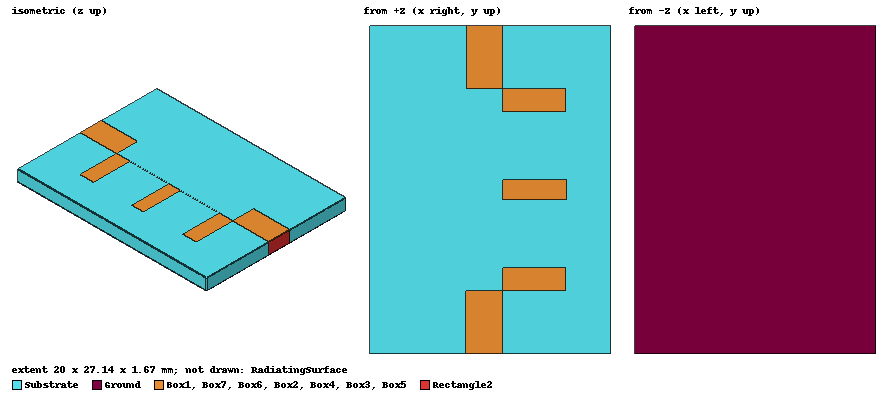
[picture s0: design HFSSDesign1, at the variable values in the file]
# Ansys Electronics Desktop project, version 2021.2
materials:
  vacuum: permittivity=1
  FR4_epoxy: permittivity=4.4 dielectric_loss_tangent=0.02
  copper: permeability=0.999991 conductivity=58000000
  air: permittivity=1.0006 permeability=1.0000004

design HFSSDesign1 (HFSS, DrivenModal, model units mm)
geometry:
  Substrate [FR4_epoxy] = box(corner=(0mm, 0mm, 0mm), size=(20mm, 27.14mm, 1.6mm))
  Ground [copper] = box(corner=(0mm, 0mm, 0mm), size=(20mm, 27.14mm, -0.035mm))
  Box1 [copper] = box(corner=(8mm, 0mm, 1.6mm), size=(3mm, 5.2mm, 0.035mm))
  Box2 [copper] = box(corner=(11mm, 5.2mm, 1.6mm), size=(5.23mm, 1.92mm, 0.035mm))
  Box3 [copper] = box(corner=(11mm, 7.12mm, 1.6mm), size=(0.02mm, 5.63mm, 0.035mm))
  Box4 [copper] = box(corner=(11.02mm, 12.75mm, 1.6mm), size=(5.3mm, 1.64mm, 0.035mm))
  Box5 [copper] = box(corner=(11.02mm, 14.39mm, 1.6mm), size=(0.02mm, 5.63mm, 0.035mm))
  Box6 [copper] = box(corner=(11.04mm, 20.02mm, 1.6mm), size=(5.23mm, 1.92mm, 0.035mm))
  Box7 [copper] = box(corner=(11.04mm, 21.94mm, 1.6mm), size=(-3mm, 5.2mm, 0.035mm))
  Rectangle1 [copper] = rectangle(corner=(8mm, 0mm, 0mm), z_size=1.6mm, x_size=3mm)
  Rectangle2 [copper] = rectangle(corner=(8mm, 27.14mm, 0mm), z_size=1.6mm, x_size=3mm)
  RadiatingSurface [vacuum] = region(absolute_offset=10mm on all sides)
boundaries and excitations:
  Open1: Radiation Objects=RadiatingSurface
  1: Lumped Port Objects=Rectangle2 Modes{Mode1{IntLine{middle of Rectangle2.edge(z at corner) -> middle of Box7.edge(8 of 12)} CharImp=Zpi RenormImp=50ohm}} Impedance=50ohm
  2: Lumped Port Objects=Rectangle1 Modes{Mode1{IntLine{Rectangle1.edge(z at corner) at 0.533 along -> Box1.edge(6 of 12) at 0.533 along} CharImp=Zpi RenormImp=50ohm}} Impedance=50ohm
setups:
  Setup1: HfssDriven Frequency=10GHz MaxDeltaS=0.1 MaximumPasses=10 MinimumPasses=1 MinimumConvergedPasses=1 PercentRefinement=30 BasisOrder=1 PortAccuracy=2
    sweep Sweep: 0.1GHz to 10.1GHz step 0.1GHz; Type=Fast SaveFields
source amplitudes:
  1:1: 1W 0deg
  2:1: 0W 0deg
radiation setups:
  3D: Infinite Sphere Theta=0deg..180deg step 2deg Phi=-180deg..180deg step 2deg
  Elevation: Infinite Sphere Theta=-180deg..180deg step 1deg Phi=0deg..90deg step 90deg
  Azimuth: Infinite Sphere Theta=90deg..90deg step 0deg Phi=-180deg..180deg step 1deg
